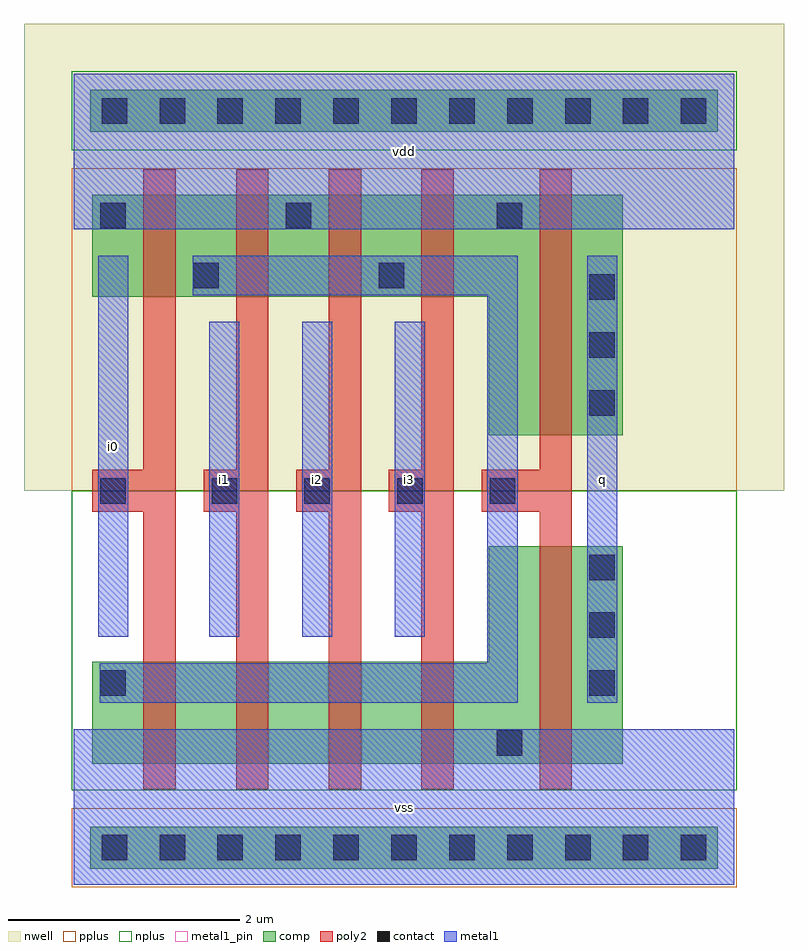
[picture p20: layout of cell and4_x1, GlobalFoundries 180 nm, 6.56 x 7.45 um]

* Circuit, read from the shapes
.subckt and4_x1 i0 i1 i2 i3 q vdd vss
XM1 n1 i0 n2 vss nfet_03v3 w=0.88u l=0.28u
XM2 n3 i1 n1 vss nfet_03v3 w=0.88u l=0.28u
XM3 n4 i2 n3 vss nfet_03v3 w=0.88u l=0.28u
XM4 vss i3 n4 vss nfet_03v3 w=0.88u l=0.28u
XM5 q n2 vss vss nfet_03v3 w=1.875u l=0.28u
XM6 n2 i0 vdd vdd pfet_03v3 w=0.88u l=0.28u
XM7 vdd i1 n2 vdd pfet_03v3 w=0.88u l=0.28u
XM8 n2 i2 vdd vdd pfet_03v3 w=0.88u l=0.28u
XM9 vdd i3 n2 vdd pfet_03v3 w=0.88u l=0.28u
XM10 q n2 vdd vdd pfet_03v3 w=2.075u l=0.28u
.ends

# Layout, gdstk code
import gdstk
lib = gdstk.Library(unit=1e-6, precision=1e-09)
def R(c, l, rs):  # rectangles x0, y0, x1, y1
    for r in rs: c.add(gdstk.rectangle(r[:2], r[2:], *l))
def A(c, l, x, y, w, h, nx, ny, dx, dy):  # array of equal rectangles
    R(c, l, [(x+i*dx, y+j*dy, x+i*dx+w, y+j*dy+h) for i in range(nx) for j in range(ny)])
def P(c, l, *ps):  # polygons
    for p in ps: c.add(gdstk.Polygon(p, *l))
nwell = (21, 0)
comp = (22, 0)
poly2 = (30, 0)
pplus = (31, 0)
nplus = (32, 0)
contact = (33, 0)
metal1 = (34, 0)
metal1_pin = (34, 10)

and4_x1 = lib.new_cell('and4_x1')
R(and4_x1, nwell, [(-0.43,3.4,6.13,7.43)])
R(and4_x1, comp, [(0.14,0.14,5.56,0.5), (0.14,6.5,5.56,6.86)])
P(and4_x1, comp, [(3.58,3.88),(3.58,5.075),(0.16,5.075),(0.16,5.955),(4.74,5.955),(4.74,3.88)],
  [(0.16,1.045),(0.16,1.925),(3.58,1.925),(3.58,2.92),(4.74,2.92),(4.74,1.045)])
P(and4_x1, poly2, [(4.02,0.825),(4.02,3.22),(3.52,3.22),(3.52,3.58),(4.02,3.58),(4.02,6.175),(4.3,6.175),(4.3,0.825)],
  [(0.6,0.825),(0.6,3.22),(0.16,3.22),(0.16,3.58),(0.6,3.58),(0.6,6.175),(0.88,6.175),(0.88,0.825)],
  [(1.4,0.825),(1.4,3.22),(1.12,3.22),(1.12,3.58),(1.4,3.58),(1.4,6.175),(1.68,6.175),(1.68,0.825)],
  [(2.2,0.825),(2.2,3.22),(1.92,3.22),(1.92,3.58),(2.2,3.58),(2.2,6.175),(2.48,6.175),(2.48,0.825)],
  [(3,0.825),(3,3.22),(2.72,3.22),(2.72,3.58),(3,3.58),(3,6.175),(3.28,6.175),(3.28,0.825)])
R(and4_x1, pplus, [(-0.02,-0.02,5.72,0.66), (-0.02,3.4,5.72,6.185)])
R(and4_x1, nplus, [(-0.02,0.815,5.72,3.4), (-0.02,6.34,5.72,7.02)])
A(and4_x1, contact, 0.24, 0.21, 0.22, 0.22, 11, 2, 0.5, 6.36)
A(and4_x1, contact, 4.45, 1.63, 0.22, 0.22, 1, 3, 0, 0.5)
A(and4_x1, contact, 1.19, 3.29, 0.22, 0.22, 4, 1, 0.8, 0)
A(and4_x1, contact, 4.45, 4.05, 0.22, 0.22, 1, 3, 0, 0.5)
R(and4_x1, contact, [(3.65,1.115,3.87,1.335), (0.23,1.63,0.45,1.85), (0.23,3.29,0.45,3.51), (1.03,5.15,1.25,5.37), (2.63,5.15,2.85,5.37), (0.23,5.665,0.45,5.885), (1.83,5.665,2.05,5.885), (3.65,5.665,3.87,5.885)])
A(and4_x1, metal1, 1.17, 2.14, 0.26, 2.72, 3, 1, 0.8, 0)
R(and4_x1, metal1, [(0,0,5.7,1.34), (4.43,1.57,4.69,5.43), (0.21,2.14,0.47,5.43), (0,5.66,5.7,7)])
P(and4_x1, metal1, [(0.225,1.57),(0.225,1.91),(3.57,1.91),(3.57,5.09),(1.025,5.09),(1.025,5.43),(3.83,5.43),(3.83,1.57)])
A(and4_x1, metal1_pin, 1.17, 2.14, 0.26, 2.72, 3, 1, 0.8, 0)
R(and4_x1, metal1_pin, [(0,0,5.7,1.34), (4.43,1.57,4.69,5.43), (0.21,2.14,0.47,5.43), (0,5.66,5.7,7)])
and4_x1.add(gdstk.Label('vdd', (2.85,6.33), layer=34, texttype=10))
and4_x1.add(gdstk.Label('vss', (2.85,0.67), layer=34, texttype=10))
and4_x1.add(gdstk.Label('i0', (0.34,3.785), layer=34, texttype=10))
and4_x1.add(gdstk.Label('i1', (1.3,3.5), layer=34, texttype=10))
and4_x1.add(gdstk.Label('i2', (2.1,3.5), layer=34, texttype=10))
and4_x1.add(gdstk.Label('i3', (2.9,3.5), layer=34, texttype=10))
and4_x1.add(gdstk.Label('q', (4.56,3.5), layer=34, texttype=10))

lib.write_gds('and4_x1.gds')
